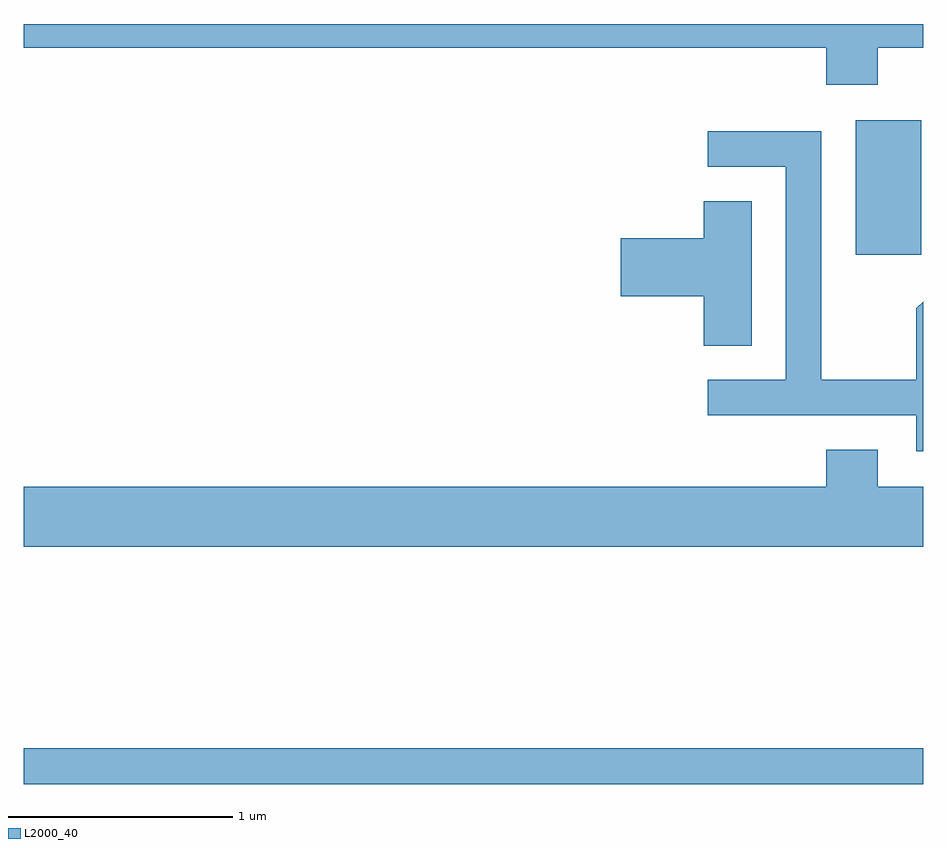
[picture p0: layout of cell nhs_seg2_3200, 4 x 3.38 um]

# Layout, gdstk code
import gdstk
lib = gdstk.Library(unit=1e-6, precision=1e-09)
def R(c, l, rs):  # rectangles x0, y0, x1, y1
    for r in rs: c.add(gdstk.rectangle(r[:2], r[2:], *l))
def P(c, l, *ps):  # polygons
    for p in ps: c.add(gdstk.Polygon(p, *l))
L2000_40 = (2000, 40)

nhs_seg2_3200 = lib.new_cell('nhs_seg2_3200')
R(nhs_seg2_3200, L2000_40, [(279.611,998.421,283.611,998.579), (283.311,1000.776,283.604,1001.374)])
P(nhs_seg2_3200, L2000_40, [(283.409,1001.696),(283.611,1001.696),(283.611,1001.802),(279.611,1001.802),(279.611,1001.696),(283.181,1001.696),(283.181,1001.531),(283.409,1001.531)],
  [(283.611,1000.567),(283.581,1000.537),(283.581,1000.219),(283.159,1000.219),(283.159,1001.324),(282.653,1001.324),(282.653,1001.166),(283.001,1001.166),(283.001,1000.219),(282.653,1000.219),(282.653,1000.061),(283.581,1000.061),(283.581,999.901),(283.611,999.901)],
  [(282.849,1001.014),(282.636,1001.014),(282.636,1000.849),(282.266,1000.849),(282.266,1000.591),(282.636,1000.591),(282.636,1000.371),(282.849,1000.371)],
  [(283.611,999.744),(283.409,999.744),(283.409,999.909),(283.181,999.909),(283.181,999.744),(279.611,999.744),(279.611,999.476),(283.611,999.476)])

lib.write_gds('nhs_seg2_3200.gds')
